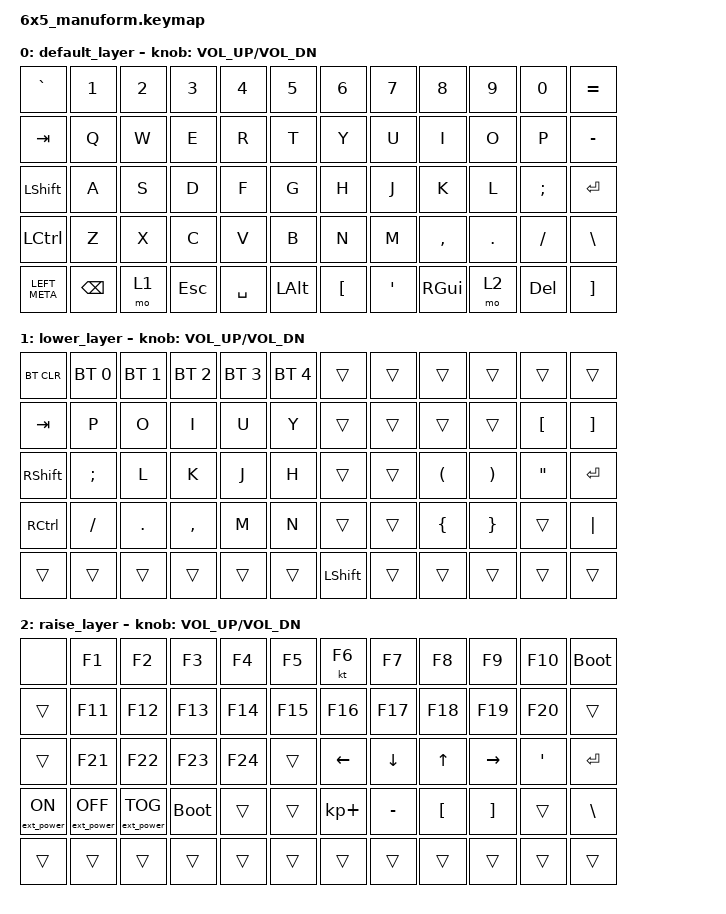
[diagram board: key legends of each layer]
/*
 * Copyright (c) 2020 The ZMK Contributors
 *
 * SPDX-License-Identifier: MIT
 */

#include <behaviors.dtsi>
#include <dt-bindings/zmk/bt.h>
#include <dt-bindings/zmk/ext_power.h>
#include <dt-bindings/zmk/keys.h>
#include <dt-bindings/zmk/keys.h>

/ {
    keymap {
        compatible = "zmk,keymap";

        default_layer {
            // ------------------------------------------------------------------------------------------------------------
            // |  ESC   |  1  |  2  |  3   |  4   |  5   |                    |  6   |  7    |  8    |  9   |   0   |   `   |
            // |  TAB   |  Q  |  W  |  E   |  R   |  T   |                    |  Y   |  U    |  I    |  O   |   P   |   -   |
            // |  CTRL  |  A  |  S  |  D   |  F   |  G   |                    |  H   |  J    |  K    |  L   |   ;   |   '   |
            // | SHIFT  |  Z  |  X  |  C   |  V   |  B   |                    |  N   |  M    |  ,    |  .   |   /   | SHIFT |
            // |    2   |  2  | f   | 6    | 4    | 1    |                    | 2    | 1     | w     | s    | n     |  a    |

            bindings = <
&kp GRAVE         &kp N1    &kp N2  &kp N3      &kp N4     &kp N5    &kp N6            &kp N7          &kp N8     &kp N9   &kp N0    &kp EQUAL
&kp TAB           &kp Q     &kp W   &kp E       &kp R      &kp T     &kp Y             &kp U           &kp I      &kp O    &kp P     &kp MINUS
&kp LSHFT         &kp A     &kp S   &kp D       &kp F      &kp G     &kp H             &kp J           &kp K      &kp L    &kp SEMI  &kp ENTER
&kp LEFT_CONTROL  &kp Z     &kp X   &kp C       &kp V      &kp B     &kp N             &kp M           &kp COMMA  &kp DOT  &kp FSLH  &kp BSLH
&kp LEFT_META     &kp BSPC  &mo 1   &kp ESCAPE  &kp SPACE  &kp LALT  &kp LEFT_BRACKET  &kp APOSTROPHE  &kp RGUI   &mo 2    &kp DEL   &kp RIGHT_BRACKET
            >;

            sensor-bindings = <&inc_dec_kp C_VOL_UP C_VOL_DN>;
        };

        lower_layer {
            // ------------------------------------------------------------------------------------------------------------
            // | BTCLR | BT1 | BT2 |  BT3 |  BT4 |  BT5 |                   |      |       |       |      |       |       |
            // |  F1   |  F2 |  F3 |  F4  |  F5  |  F6  |                   |  F7  |  F8   |  F9   |  F10 |  F11  |  F12  |
            // |   `   |  !  |  @  |  #   |  $   |  %   |                   |  ^   |  &    |  *    |  (   |   )   |   ~   |
            // |       |     |     |      |      |      |                   |      |  _    |  +    |  {   |   }   |  "|"  |
            // |       |     |     |      |      |      |                   |      |       |       |      |       |       |

            bindings = <
&bt BT_CLR       &bt BT_SEL 0   &bt BT_SEL 1  &bt BT_SEL 2  &bt BT_SEL 3  &bt BT_SEL 4  &trans          &trans  &trans                &trans                 &trans             &trans
&kp TAB          &kp P          &kp O         &kp I         &kp U         &kp Y         &trans          &trans  &trans                &trans                 &kp LEFT_BRACKET   &kp RIGHT_BRACKET
&kp RIGHT_SHIFT  &kp SEMICOLON  &kp L         &kp K         &kp J         &kp H         &trans          &trans  &kp LEFT_PARENTHESIS  &kp RIGHT_PARENTHESIS  &kp DOUBLE_QUOTES  &kp ENTER
&kp RCTRL        &kp SLASH      &kp PERIOD    &kp COMMA     &kp M         &kp N         &trans          &trans  &kp LEFT_BRACE        &kp RIGHT_BRACE        &trans             &kp PIPE
&trans           &trans         &trans        &trans        &trans        &trans        &kp LEFT_SHIFT  &trans  &trans                &trans                 &trans             &trans
            >;

            sensor-bindings = <&inc_dec_kp C_VOL_UP C_VOL_DN>;
        };

        raise_layer {
            // ------------------------------------------------------------------------------------------------------------
            // |       |     |     |      |      |      |                   |      |       |       |      |       |       |
            // |   `   |  1  |  2  |  3   |  4   |  5   |                   |  6   |   7   |   8   |  9   |   0   |       |
            // |   F1  |  F2 |  F3 |  F4  |  F5  |  F6  |                   |      |   <-  |   v   |  ^   |  ->   |       |
            // |   F7  |  F8 |  F9 |  F10 |  F11 |  F12 |		             |  +   |   -   |   =   |  [   |   ]   |   \   |
            // |     |     |      |      |      |        |                   |       |      |       |       |      |       |

            bindings = <
&none             &kp F1             &kp F2             &kp F3       &kp F4   &kp F5   &kt F6          &kp F7          &kp F8            &kp F9             &kp F10           &bootloader
&trans            &kp F11            &kp F12            &kp F13      &kp F14  &kp F15  &kp F16         &kp F17         &kp F18           &kp F19            &kp F20           &trans
&trans            &kp F21            &kp F22            &kp F23      &kp F24  &trans   &kp LEFT_ARROW  &kp DOWN_ARROW  &kp UP_ARROW      &kp RIGHT          &kp SINGLE_QUOTE  &kp ENTER
&ext_power EP_ON  &ext_power EP_OFF  &ext_power EP_TOG  &bootloader  &trans   &trans   &kp KP_PLUS     &kp MINUS       &kp LEFT_BRACKET  &kp RIGHT_BRACKET  &trans            &kp BSLH
&trans            &trans             &trans             &trans       &trans   &trans   &trans          &trans          &trans            &trans             &trans            &trans
            >;

            sensor-bindings = <&inc_dec_kp C_VOL_UP C_VOL_DN>;
        };
    };
};
